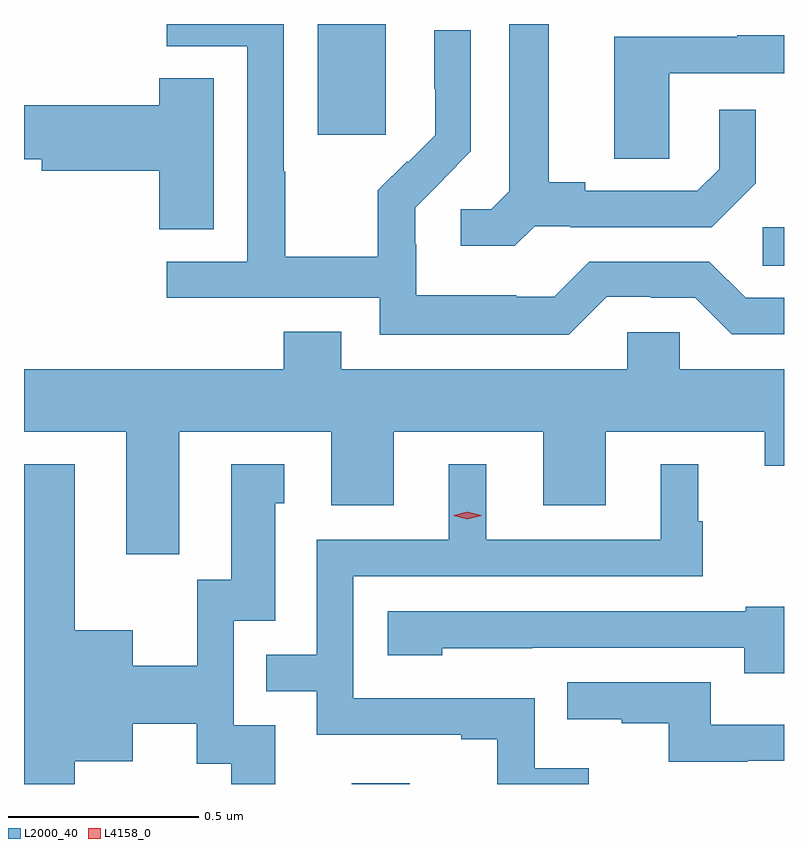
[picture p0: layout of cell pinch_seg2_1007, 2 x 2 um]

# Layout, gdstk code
import gdstk
lib = gdstk.Library(unit=1e-6, precision=1e-09)
def R(c, l, rs):  # rectangles x0, y0, x1, y1
    for r in rs: c.add(gdstk.rectangle(r[:2], r[2:], *l))
def P(c, l, *ps):  # polygons
    for p in ps: c.add(gdstk.Polygon(p, *l))
L2000_40 = (2000, 40)
L4158_0 = (4158, 0)

pinch_seg2_1007 = lib.new_cell('pinch_seg2_1007')
R(pinch_seg2_1007, L2000_40, [(169.853,654.701,170.005,654.703), (170.934,656.065,170.99,656.166), (169.763,656.409,169.942,656.701)])
P(pinch_seg2_1007, L2000_40, [(170.334,656.169),(170.428,656.169),(170.428,656.166),(170.8,656.166),(170.916,656.282),(170.916,656.476),(170.819,656.476),(170.819,656.319),(170.762,656.262),(170.467,656.262),(170.467,656.285),(170.371,656.285),(170.371,656.701),(170.267,656.701),(170.267,656.261),(170.22,656.214),(170.139,656.214),(170.139,656.117),(170.282,656.117)],
  [(170.523,655.983),(170.639,655.983),(170.639,655.98),(170.757,655.98),(170.853,655.884),(170.99,655.884),(170.99,655.98),(170.889,655.98),(170.793,656.076),(170.478,656.076),(170.385,655.983),(170.285,655.983),(170.285,655.987),(170.022,655.987),(170.022,656.121),(170.02,656.121),(170.02,656.218),(170.094,656.292),(170.093,656.293),(170.166,656.366),(170.166,656.684),(170.07,656.684),(170.07,656.53),(170.072,656.53),(170.072,656.408),(170.001,656.337),(169.998,656.34),(169.921,656.263),(169.921,656.089),(169.677,656.089),(169.677,656.312),(169.674,656.312),(169.674,656.701),(169.365,656.701),(169.365,656.643),(169.578,656.643),(169.578,656.076),(169.365,656.076),(169.365,655.98),(169.926,655.98),(169.926,655.883),(170.423,655.883)],
  [(170.688,656.571),(170.99,656.571),(170.99,656.671),(170.867,656.671),(170.867,656.667),(170.543,656.667),(170.543,656.347),(170.688,656.347)],
  [(169.489,656.558),(169.346,656.558),(169.346,656.487),(168.99,656.487),(168.99,656.345),(169.037,656.345),(169.037,656.315),(169.346,656.315),(169.346,656.161),(169.489,656.161)],
  [(170.939,655.538),(170.99,655.538),(170.99,655.792),(170.715,655.792),(170.715,655.89),(170.577,655.89),(170.577,655.792),(169.825,655.792),(169.825,655.891),(169.673,655.891),(169.673,655.792),(168.99,655.792),(168.99,655.628),(169.259,655.628),(169.259,655.305),(169.399,655.305),(169.399,655.628),(169.799,655.628),(169.799,655.434),(169.963,655.434),(169.963,655.628),(170.357,655.628),(170.357,655.434),(170.521,655.434),(170.521,655.628),(170.939,655.628)],
  [(170.476,654.742),(170.334,654.742),(170.334,654.927),(169.857,654.927),(169.857,655.248),(170.776,655.248),(170.776,655.392),(170.764,655.392),(170.764,655.543),(170.666,655.543),(170.666,655.344),(170.206,655.344),(170.206,655.543),(170.108,655.543),(170.108,655.344),(169.761,655.344),(169.761,655.041),(169.627,655.041),(169.627,654.945),(169.761,654.945),(169.761,654.831),(170.141,654.831),(170.141,654.819),(170.236,654.819),(170.236,654.701),(170.476,654.701)],
  [(169.123,654.761),(169.276,654.761),(169.276,654.86),(169.445,654.86),(169.445,654.754),(169.535,654.754),(169.535,654.701),(169.651,654.701),(169.651,654.855),(169.542,654.855),(169.542,655.131),(169.651,655.131),(169.651,655.44),(169.675,655.44),(169.675,655.543),(169.535,655.543),(169.535,655.239),(169.446,655.239),(169.446,655.012),(169.276,655.012),(169.276,655.105),(169.123,655.105),(169.123,655.543),(168.99,655.543),(168.99,654.701),(169.123,654.701)],
  [(170.99,655.168),(170.889,655.168),(170.889,655.155),(169.947,655.155),(169.947,655.04),(170.091,655.04),(170.091,655.058),(170.327,655.058),(170.327,655.059),(170.885,655.059),(170.885,654.992),(170.99,654.992)],
  [(170.894,654.762),(170.99,654.762),(170.99,654.857),(170.797,654.857),(170.797,654.969),(170.419,654.969),(170.419,654.872),(170.563,654.872),(170.563,654.861),(170.687,654.861),(170.687,654.759),(170.894,654.759)])
P(pinch_seg2_1007, L4158_0, [(170.157,655.398),(170.121,655.407),(170.121,655.408),(170.121,655.408),(170.157,655.418),(170.193,655.408),(170.193,655.408),(170.193,655.407)])

lib.write_gds('pinch_seg2_1007.gds')
